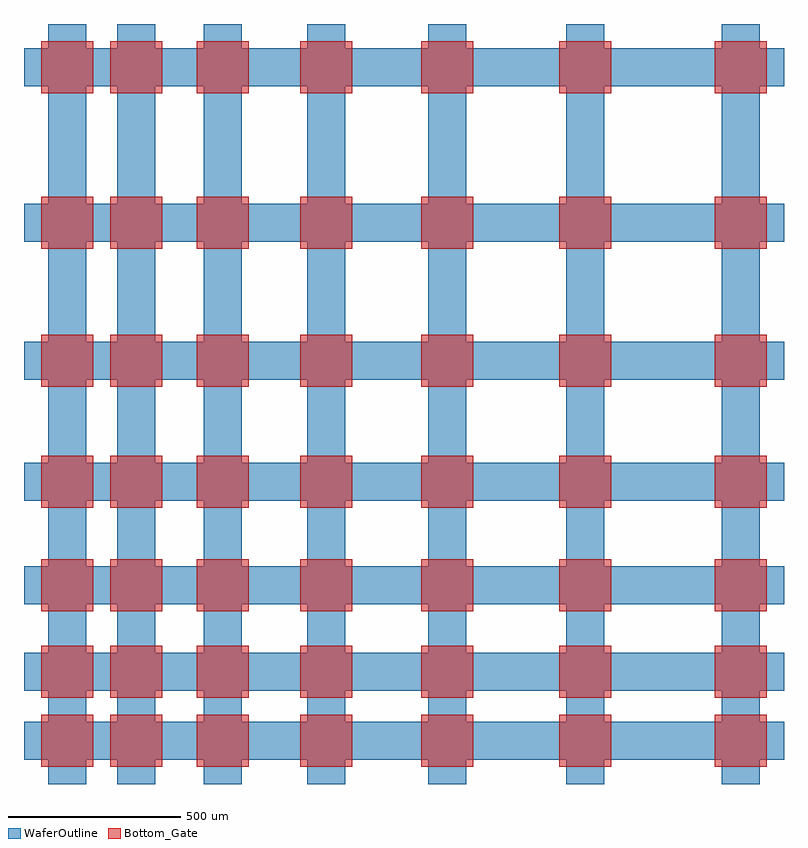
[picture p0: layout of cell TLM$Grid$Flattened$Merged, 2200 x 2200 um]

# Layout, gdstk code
from math import pi, radians
import gdstk
lib = gdstk.Library(unit=1e-6, precision=1e-09)
def R(c, l, rs):  # rectangles x0, y0, x1, y1
    for r in rs: c.add(gdstk.rectangle(r[:2], r[2:], *l))
def P(c, l, *ps):  # polygons
    for p in ps: c.add(gdstk.Polygon(p, *l))
WaferOutline = (1, 0)
Bottom_Gate = (2, 0)

c_50umspacingohmics_1 = lib.new_cell('50umSpacingOhmics$1')

tlm_1 = lib.new_cell('TLM$1')
tlm_1.add(gdstk.Reference(c_50umspacingohmics_1, (867.517,-2496.165)))

tlm_array_1 = lib.new_cell('TLM$Array$1')
tlm_array_1.add(gdstk.Reference(tlm_1, (0,125)))
tlm_array_1.add(gdstk.Reference(tlm_1, (0,-975)))
tlm_array_1.add(gdstk.Reference(tlm_1, (0,-775)))
tlm_array_1.add(gdstk.Reference(tlm_1, (0,-525)))
tlm_array_1.add(gdstk.Reference(tlm_1, (0,-225)))
tlm_array_1.add(gdstk.Reference(tlm_1, (0,525)))
tlm_array_1.add(gdstk.Reference(tlm_1, (0,975)))

tlm_grid_flattened_merge = lib.new_cell('TLM$Grid$Flattened$Merged')
P(tlm_grid_flattened_merge, WaferOutline, [(-1030,-1100),(-1030,-1030),(-1100,-1030),(-1100,-920),(-1030,-920),(-1030,-830),(-920,-830),(-920,-920),(-830,-920),(-830,-830),(-720,-830),(-720,-920),(-580,-920),(-580,-830),(-470,-830),(-470,-920),(-280,-920),(-280,-830),(-170,-830),(-170,-920),(70,-920),(70,-830),(180,-830),(180,-920),(470,-920),(470,-830),(580,-830),(580,-920),(920,-920),(920,-830),(-1100,-830),(-1100,-720),(-1030,-720),(-1030,-580),(-920,-580),(-920,-720),(-830,-720),(-830,-580),(-720,-580),(-720,-720),(-580,-720),(-580,-580),(-470,-580),(-470,-720),(-280,-720),(-280,-580),(-170,-580),(-170,-720),(70,-720),(70,-580),(180,-580),(180,-720),(470,-720),(470,-580),(580,-580),(580,-720),(920,-720),(920,-580),(-1100,-580),(-1100,-470),(-1030,-470),(-1030,-280),(-920,-280),(-920,-470),(-830,-470),(-830,-280),(-720,-280),(-720,-470),(-580,-470),(-580,-280),(-470,-280),(-470,-470),(-280,-470),(-280,-280),(-170,-280),(-170,-470),(70,-470),(70,-280),(180,-280),(180,-470),(470,-470),(470,-280),(580,-280),(580,-470),(920,-470),(920,-280),(-1100,-280),(-1100,-170),(-1030,-170),(-1030,70),(-920,70),(-920,-170),(-830,-170),(-830,70),(-720,70),(-720,-170),(-580,-170),(-580,70),(-470,70),(-470,-170),(-280,-170),(-280,70),(-170,70),(-170,-170),(70,-170),(70,70),(180,70),(180,-170),(470,-170),(470,70),(580,70),(580,-170),(920,-170),(920,70),(-1100,70),(-1100,180),(-1030,180),(-1030,470),(-920,470),(-920,180),(-830,180),(-830,470),(-720,470),(-720,180),(-580,180),(-580,470),(-470,470),(-470,180),(-280,180),(-280,470),(-170,470),(-170,180),(70,180),(70,470),(180,470),(180,180),(470,180),(470,470),(580,470),(580,180),(920,180),(920,470),(-1100,470),(-1100,580),(-1030,580),(-1030,920),(-920,920),(-920,580),(-830,580),(-830,920),(-720,920),(-720,580),(-580,580),(-580,920),(-470,920),(-470,580),(-280,580),(-280,920),(-170,920),(-170,580),(70,580),(70,920),(180,920),(180,580),(470,580),(470,920),(580,920),(580,580),(920,580),(920,920),(-1100,920),(-1100,1030),(-1030,1030),(-1030,1100),(-920,1100),(-920,1030),(-830,1030),(-830,1100),(-720,1100),(-720,1030),(-580,1030),(-580,1100),(-470,1100),(-470,1030),(-280,1030),(-280,1100),(-170,1100),(-170,1030),(70,1030),(70,1100),(180,1100),(180,1030),(470,1030),(470,1100),(580,1100),(580,1030),(920,1030),(920,1100),(1030,1100),(1030,1030),(1100,1030),(1100,920),(1030,920),(1030,580),(1100,580),(1100,470),(1030,470),(1030,180),(1100,180),(1100,70),(1030,70),(1030,-170),(1100,-170),(1100,-280),(1030,-280),(1030,-470),(1100,-470),(1100,-580),(1030,-580),(1030,-720),(1100,-720),(1100,-830),(1030,-830),(1030,-920),(1100,-920),(1100,-1030),(1030,-1030),(1030,-1100),(920,-1100),(920,-1030),(580,-1030),(580,-1100),(470,-1100),(470,-1030),(180,-1030),(180,-1100),(70,-1100),(70,-1030),(-170,-1030),(-170,-1100),(-280,-1100),(-280,-1030),(-470,-1030),(-470,-1100),(-580,-1100),(-580,-1030),(-720,-1030),(-720,-1100),(-830,-1100),(-830,-1030),(-920,-1030),(-920,-1100)])
R(tlm_grid_flattened_merge, Bottom_Gate, [(-1050,-1050,-900,-900), (-850,-1050,-700,-900), (-600,-1050,-450,-900), (-300,-1050,-150,-900), (50,-1050,200,-900), (450,-1050,600,-900), (900,-1050,1050,-900), (-1050,-850,-900,-700), (-850,-850,-700,-700), (-600,-850,-450,-700), (-300,-850,-150,-700), (50,-850,200,-700), (450,-850,600,-700), (900,-850,1050,-700), (-1050,-600,-900,-450), (-850,-600,-700,-450), (-600,-600,-450,-450), (-300,-600,-150,-450), (50,-600,200,-450), (450,-600,600,-450), (900,-600,1050,-450), (-1050,-300,-900,-150), (-850,-300,-700,-150), (-600,-300,-450,-150), (-300,-300,-150,-150), (50,-300,200,-150), (450,-300,600,-150), (900,-300,1050,-150), (-1050,50,-900,200), (-850,50,-700,200), (-600,50,-450,200), (-300,50,-150,200), (50,50,200,200), (450,50,600,200), (900,50,1050,200), (-1050,450,-900,600), (-850,450,-700,600), (-600,450,-450,600), (-300,450,-150,600), (50,450,200,600), (450,450,600,600), (900,450,1050,600), (-1050,900,-900,1050), (-850,900,-700,1050), (-600,900,-450,1050), (-300,900,-150,1050), (50,900,200,1050), (450,900,600,1050), (900,900,1050,1050)])
tlm_grid_flattened_merge.add(gdstk.Reference(tlm_array_1, (0,0), rotation=pi/2, x_reflection=True))
tlm_grid_flattened_merge.add(gdstk.Reference(tlm_array_1, (0,0)))

lib.write_gds('TLM_Grid_Flattened_Merged.gds')
